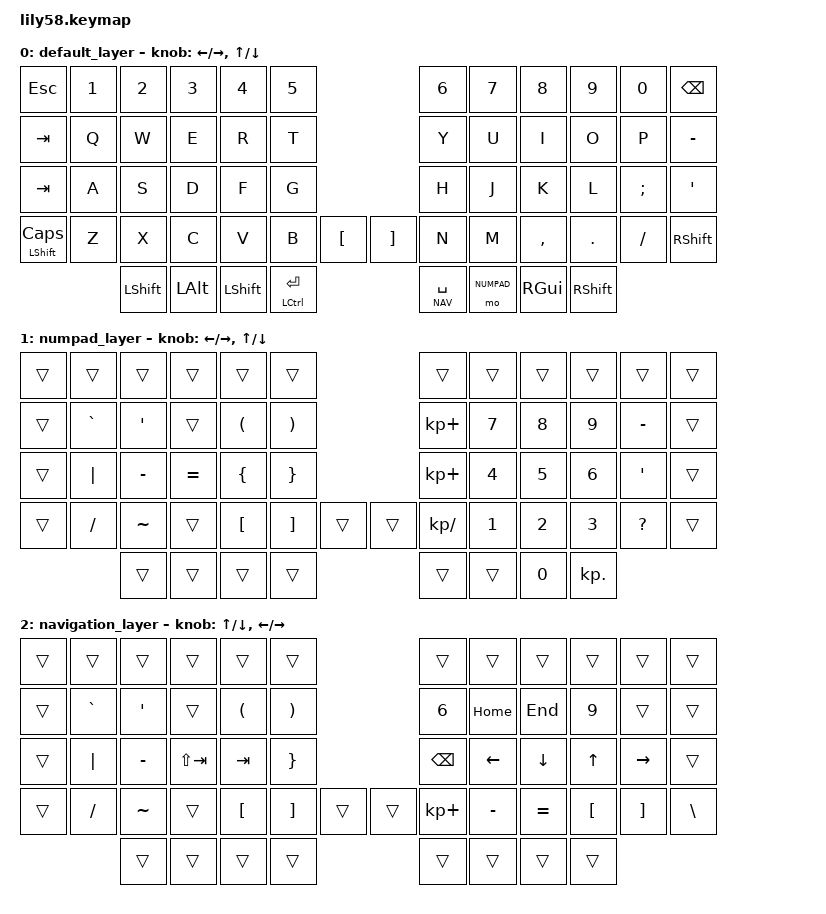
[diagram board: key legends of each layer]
/*
 * Copyright (c) 2020 The ZMK Contributors
 *
 * SPDX-License-Identifier: MIT
 */

#include <behaviors.dtsi>
#include <dt-bindings/zmk/keys.h>
#include <dt-bindings/zmk/bt.h>
#include <dt-bindings/zmk/ext_power.h>

#define DEFAULT 0
#define NUMPAD  1
#define NAV     2

/ {
	keymap {
		compatible = "zmk,keymap";

		default_layer {
// ------------------------------------------------------------------------------------------------------------
// |  ESC  |  1  |  2  |  3   |  4   |  5   |                   |  6   |  7    |  8    |  9   |   0   |   `   |
// |  TAB  |  Q  |  W  |  E   |  R   |  T   |                   |  Y   |  U    |  I    |  O   |   P   |   -   |
// |  CTRL |  A  |  S  |  D   |  F   |  G   |                   |  H   |  J    |  K    |  L   |   ;   |   '   |
// | SHIFT |  Z  |  X  |  C   |  V   |  B   |   "["  |  |  "]"  |  N   |  M    |  ,    |  .   |   /   | SHIFT |
//                     | ALT  | GUI  | LOWER|  SPACE |  | ENTER | RAISE| BSPC  | GUI   |
			bindings = <
&kp ESC        &kp N1 &kp N2 &kp N3 &kp N4 &kp N5                          &kp N6 &kp N7 &kp N8 &kp N9 &kp N0 &kp BSPC
&kp TAB	        &kp Q     &kp W     &kp E     &kp R     &kp T                              &kp Y     &kp U     &kp I     &kp O     &kp P     &kp MINUS
&kp TAB        &kp A     &kp S     &kp D     &kp F     &kp G                              &kp H     &kp J     &kp K     &kp L     &kp SEMI  &kp SQT
&mt LSHFT CLCK  &kp Z     &kp X     &kp C     &kp V     &kp B         &kp LBKT  &kp RBKT   &kp N     &kp M     &kp COMMA  &kp DOT   &kp FSLH  &kp RSHFT
                   &kp LSHFT   &kp LALT  &kp LSHFT     &mt LCTRL RET                       &lt NAV SPACE   &mo NUMPAD  &kp RGUI  &kp RSHFT
			>;

			sensor-bindings = <&inc_dec_kp LEFT RIGHT &inc_dec_kp UP DOWN>;
		};

		numpad_layer {
// ------------------------------------------------------------------------------------------------------------
// | BTCLR | BT1 | BT2 |  BT3 |  BT4 |  BT5 |                   |      |       |       |      |       |       |
// |  F1   |  F2 |  F3 |  F4  |  F5  |  F6  |                   |  F7  |  F8   |  F9   |  F10 |  F11  |  F12  |
// |   `   |  !  |  @  |  #   |  $   |  %   |                   |  ^   |  &    |  *    |  (   |   )   |   ~   |
// |       |     |     |      |      |      |        |  |       |      |  _    |  +    |  {   |   }   |  "|"  |
//                     |      |      |      |        |  |       |      |       |       |
			bindings = <
&trans  &trans     &trans       &trans     &trans    &trans                          &trans        &trans  &trans  &trans  &trans     &trans
&trans  &kp GRAVE  &kp SQT      &trans     &kp LPAR  &kp RPAR                        &kp KP_PLUS   &kp N7  &kp N8  &kp N9  &kp MINUS  &trans
&trans  &kp PIPE   &kp MINUS    &kp EQUAL  &kp LBRC  &kp RBRC                        &kp KP_PLUS   &kp N4  &kp N5  &kp N6  &kp SQT    &trans
&trans  &kp FSLH   &kp TILDE    &trans  &kp LBKT  &kp RBKT  &trans           &trans  &kp KP_SLASH  &kp N1  &kp N2  &kp N3  &kp QMARK  &trans
				        &trans  &trans  &trans  &trans                               &trans  &trans        &kp N0  &kp KP_DOT
			>;

				sensor-bindings = <&inc_dec_kp LEFT RIGHT &inc_dec_kp UP DOWN>;
		};

		navigation_layer {
// ------------------------------------------------------------------------------------------------------------
// |       |     |     |      |      |      |                   |      |       |       |      |       |       |
// |   `   |  1  |  2  |  3   |  4   |  5   |                   |  6   |   7   |   8   |  9   |   0   |       |
// |   F1  |  F2 |  F3 |  F4  |  F5  |  F6  |                   |      |   <-  |   ^   |  v   |  ->   |       |
// |   F7  |  F8 |  F9 |  F10 |  F11 |  F12 |        |  |       |  +   |   -   |   =   |  [   |   ]   |   \   |
//                     |      |      |      |        |  |       |      |       |       |
			bindings = <
&trans  &trans     &trans       &trans     &trans    &trans                         &trans      &trans    &trans    &trans    &trans    &trans
&trans  &kp GRAVE  &kp SQT      &trans     &kp LPAR  &kp RPAR                       &kp N6      &kp HOME  &kp END   &kp N9    &trans     &trans
&trans  &kp PIPE   &kp MINUS    &kp  LS(TAB)  &kp TAB  &kp RBRC                       &kp BSPC    &kp LEFT  &kp DOWN  &kp UP  &kp RIGHT  &trans
&trans  &kp FSLH   &kp TILDE    &trans     &kp LBKT  &kp RBKT   &trans    &trans    &kp KP_PLUS  &kp MINUS &kp EQUAL   &kp LBKT  &kp RBKT  &kp BSLH
                   &trans    &trans    &trans    &trans                       &trans    &trans    &trans    &trans
			>;

			sensor-bindings = <&inc_dec_kp UP DOWN &inc_dec_kp LEFT RIGHT>;

		};
	};
};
